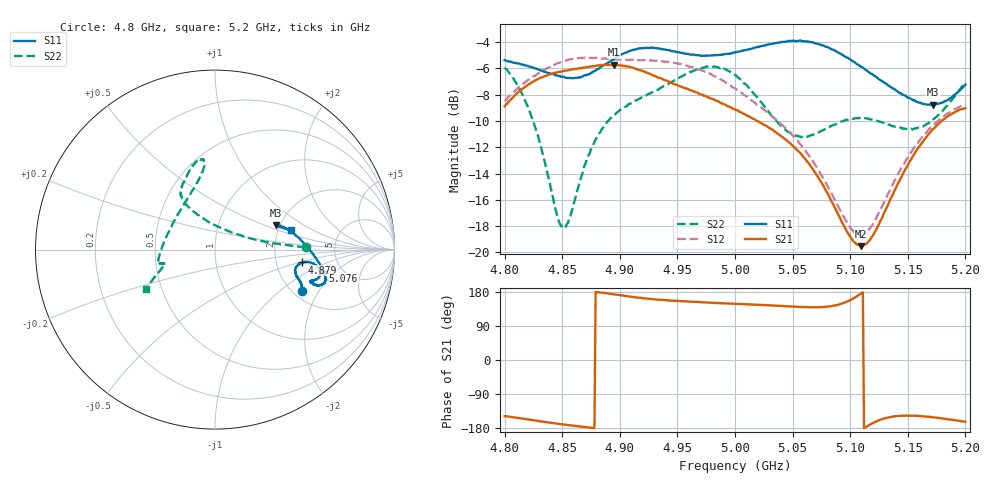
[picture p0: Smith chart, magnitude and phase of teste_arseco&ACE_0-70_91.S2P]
! Network Analyzer HP8722D
! Hewlett-Packard
! Data name: Linha & Wilkinson
! Saver's name: Rodrigo Anjos
! Comments: Teste da utilização de aquisição
! continua pelo VNA HP8722D
! Time and date: 8/5/2025 13:31
!  Frequency  S11  S21  S12  S22
# HZ  S  MA R 50
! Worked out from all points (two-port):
!   401 points, 4.8 GHz to 5.2 GHz, reference 50 ohm
!   highest |S21| = -5.70 dB at 4.895 GHz (marker M1); lowest = -19.5 dB at 5.109 GHz (marker M2)
!   |S21| within 3 dB of the highest: 4.802 GHz to 4.99 GHz (188 MHz wide, 3.84 % of centre)
!   lowest |S11| = -8.8 dB at 5.172 GHz (marker M3), VSWR 2.15, Z = 95.2 + j29.6 ohm
!   |S11| at or under -10 dB: nowhere
!   |S22| runs from -18.2 to -5.8 dB; largest |S21 - S12| = 1.1
!   S11 on the Smith chart (normalised r, x): 4.8 GHz: 2.23, -1.46; 4.879 GHz: 2.83, -0.54; 5.076 GHz: 3.62, -1.36; 5.2 GHz: 2.33, +0.64
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4.8e9  0.539 -25.5  0.3597 -148.2  0.3762 11.3  0.5045 1.7
4.812e9  0.5237 -22.5  0.4072 -153.1  0.4238 9.7  0.4261 2.8
4.824e9  0.5056 -20.4  0.4443 -158.5  0.4642 7.8  0.3222 6.3
4.849e9  0.4657 -16.4  0.4881 -169.5  0.5308 3.8  0.1258 56.6
4.855e9  0.4605 -14.6  0.4932 -171.8  0.5408 3.0  0.1292 84.4
4.867e9  0.4655 -11.1  0.5023 -176.1  0.5483 1.2  0.1968 113.3
4.879e9  0.4924 -8.4  0.512 179.9  0.5514 0.0  0.2689 121.2
4.895e9  0.5455 -8.0  0.5187 173.0  0.5414 -0.1  0.3311 122.7
4.914e9  0.5927 -11.0  0.4999 165.2  0.5384 0.1  0.3783 120.1
4.934e9  0.5976 -15.4  0.4611 158.9  0.5365 -0.8  0.4177 114.1
4.975e9  0.5616 -18.5  0.3929 151.8  0.4864 -4.6  0.5103 100.3
5e9  0.5775 -19.1  0.3499 148.0  0.4209 -4.5  0.474 97.3
5.044e9  0.6337 -17.4  0.2685 141.9  0.2962 3.4  0.2923 131.1
5.067e9  0.6309 -13.3  0.2092 139.2  0.2246 9.7  0.2797 164.4
5.076e9  0.6129 -11.0  0.1815 139.8  0.1934 13.8  0.2912 174.8
5.099e9  0.5455 -2.5  0.1165 156.3  0.1264 37.8  0.3213 -169.8
5.109e9  0.51 2.2  0.1056 174.2  0.1161 57.4  0.3239 -167.0
5.119e9  0.4773 7.2  0.1148 -167.3  0.1264 77.2  0.3204 -165.7
5.134e9  0.4296 14.1  0.1561 -150.9  0.1705 94.8  0.3064 -165.6
5.154e9  0.3808 20.4  0.2308 -147.1  0.2447 102.1  0.2937 -164.1
5.172e9  0.3647 21.7  0.2946 -151.2  0.3046 103.3  0.321 -160.0
5.2e9  0.4352 14.7  0.3538 -163.0  0.3664 103.6  0.4454 -150.3
